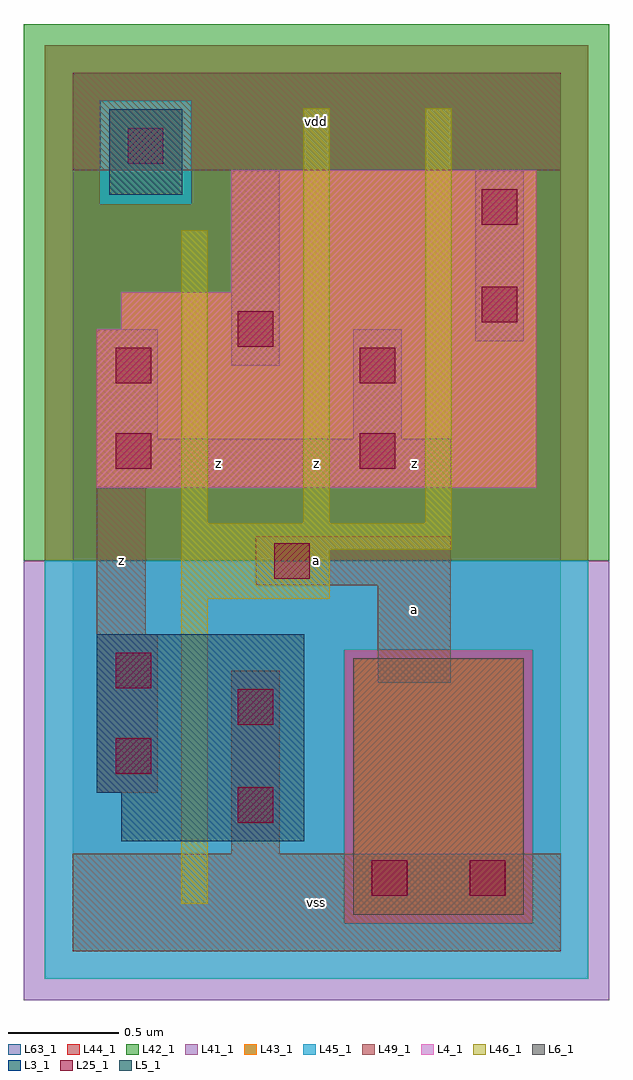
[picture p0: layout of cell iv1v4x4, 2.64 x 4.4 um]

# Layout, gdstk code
import gdstk
lib = gdstk.Library(unit=1e-6, precision=1e-09)
def R(c, l, rs):  # rectangles x0, y0, x1, y1
    for r in rs: c.add(gdstk.rectangle(r[:2], r[2:], *l))
L3_1 = (3, 1)
L4_1 = (4, 1)
L5_1 = (5, 1)
L6_1 = (6, 1)
L25_1 = (25, 1)
L41_1 = (41, 1)
L42_1 = (42, 1)
L43_1 = (43, 1)
L44_1 = (44, 1)
L45_1 = (45, 1)
L46_1 = (46, 1)
L49_1 = (49, 1)
L63_1 = (63, 1)

iv1v4x4 = lib.new_cell('iv1v4x4')
R(iv1v4x4, L3_1, [(0.22,0.495,1.045,0.715), (0.11,0.715,1.045,1.43)])
R(iv1v4x4, L4_1, [(0.11,2.09,2.09,2.805), (0.22,2.805,2.09,2.97), (0.715,2.97,2.09,3.52)])
R(iv1v4x4, L5_1, [(0.165,3.41,0.495,3.795)])
R(iv1v4x4, L6_1, [(1.265,0.165,2.035,1.32)])
R(iv1v4x4, L25_1, [(1.35,0.25,1.51,0.41), (1.79,0.25,1.95,0.41), (0.745,0.58,0.905,0.74), (0.195,0.8,0.355,0.96), (0.745,1.02,0.905,1.18), (0.195,1.185,0.355,1.345), (0.91,1.68,1.07,1.84), (0.195,2.175,0.355,2.335), (1.295,2.175,1.455,2.335), (0.195,2.56,0.355,2.72), (1.295,2.56,1.455,2.72), (0.745,2.725,0.905,2.885), (1.845,2.835,2.005,2.995), (1.845,3.275,2.005,3.435), (0.25,3.55,0.41,3.71)])
R(iv1v4x4, L41_1, [(-0.22,-0.22,2.42,1.76)])
R(iv1v4x4, L42_1, [(-0.22,1.76,2.42,4.18)])
R(iv1v4x4, L43_1, [(1.265,0.165,2.035,1.32), (0.22,0.495,1.045,0.715), (0.11,0.715,1.045,1.43), (0.11,2.09,2.09,2.805), (0.22,2.805,2.09,2.97), (0.715,2.97,2.09,3.52), (0.165,3.41,0.495,3.795)])
R(iv1v4x4, L44_1, [(1.225,0.125,2.075,1.36), (-0.125,1.76,2.325,3.37), (-0.125,3.37,0.125,3.835), (0.535,3.37,2.325,3.835), (-0.125,3.835,2.325,4.085)])
R(iv1v4x4, L45_1, [(-0.125,-0.125,2.325,0.125), (-0.125,0.125,1.225,1.36), (2.075,0.125,2.325,1.36), (-0.125,1.36,2.325,1.76), (0.125,3.37,0.535,3.835)])
R(iv1v4x4, L46_1, [(0.49,0.215,0.61,1.59), (0.49,1.59,1.16,1.81), (0.49,1.81,1.71,1.93), (0.49,1.93,0.61,3.25), (1.04,1.93,1.16,3.8), (1.59,1.93,1.71,3.8)])
R(iv1v4x4, L49_1, [(0,0,2.2,0.44), (0.715,0.44,0.935,1.265), (0.11,0.715,0.385,1.43), (1.375,1.21,1.705,1.65), (0.11,1.43,0.33,2.09), (0.825,1.65,1.705,1.87), (0.11,2.09,1.705,2.31), (0.11,2.31,0.385,2.805), (1.265,2.31,1.485,2.805), (0.715,2.64,0.935,3.52), (1.815,2.75,2.035,3.52), (0,3.52,2.2,3.96)])
R(iv1v4x4, L63_1, [(0,0,2.2,3.96)])
iv1v4x4.add(gdstk.Label('z', (0.22,1.76), layer=49, texttype=1))
iv1v4x4.add(gdstk.Label('z', (0.66,2.2), layer=49, texttype=1))
iv1v4x4.add(gdstk.Label('vss', (1.1,0.22), layer=49, texttype=1))
iv1v4x4.add(gdstk.Label('a', (1.1,1.76), layer=49, texttype=1))
iv1v4x4.add(gdstk.Label('a', (1.54,1.54), layer=49, texttype=1))
iv1v4x4.add(gdstk.Label('z', (1.54,2.2), layer=49, texttype=1))
iv1v4x4.add(gdstk.Label('z', (1.1,2.2), layer=49, texttype=1))
iv1v4x4.add(gdstk.Label('vdd', (1.1,3.74), layer=49, texttype=1))

lib.write_gds('iv1v4x4.gds')
